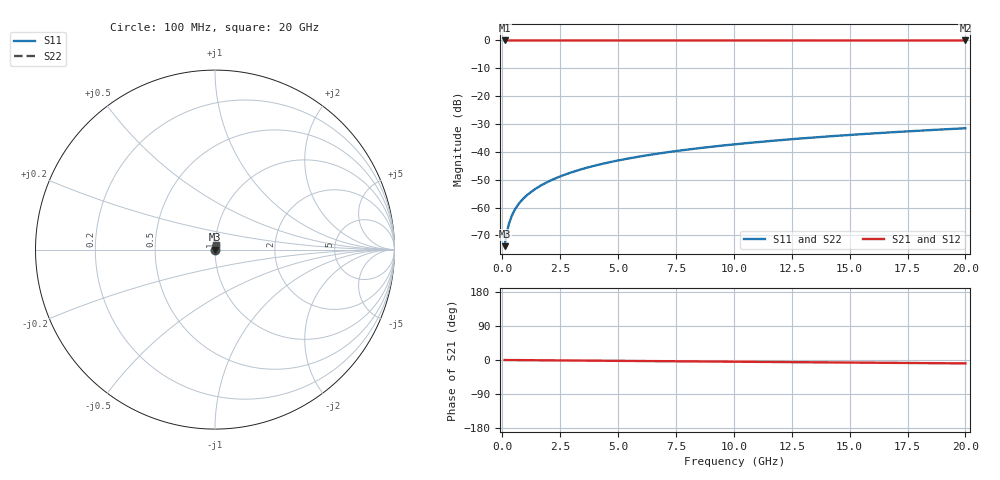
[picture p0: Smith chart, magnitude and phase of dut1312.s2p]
! Touchstone file exported from HFSS 2026.1.0
!  File:  C:/ffzhzh/LocalFiles/Ansys_Project_Files/temp_train_TSV_1312_1783194971_22436.aedt
!  Generated:  03:57:39 AM Jul  5, 2026
!  Design:  TSV
!  Project:  temp_train_TSV_1312_1783194971_22436
! Variables:
!  h_bsmrdl = 2um
!  h_ox = 20um
!  h_rdl = 5um
!  h_sub = 85.35um
!  h_tmrdl = 5um
!  h_tsv = 85.35um
!  h_via = 3um
!  l_bsmrdl = 300um
!  l_sub = 423.62um
!  l_tmrdl = 200um
!  m_sub = 200um
!  pitch = 57.55um
!  r_tsv = 11.81um
!  s_tmrdl = 10um
!  w_bsmrdl = 18um
!  w_sub = 500um
!  w_tmrdl = 12um
!  x_tsv_center1 = 206um
!  x_tsv_center2 = 524um
!  x_tsv_center3 = 736um
!  x_tsv_center4 = 1054um
!  x_tsv_center5 = 1266um
!  x_tsv_center6 = 1584um
# GHz S MA R 50.000000
! Terminal data exported
! Port[1] = TSV1_1_T1
! Port[2] = TSV1_1_T2
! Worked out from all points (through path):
!   200 points, 100 MHz to 20 GHz, reference 50 ohm
!   highest |S21| = 0.00 dB at 100 MHz (marker M1); lowest = 0.0 dB at 20 GHz (marker M2)
!   group delay of S21, straight-line fit = 1.24 ps
!   lowest |S11| = -73.9 dB at 100 MHz (marker M3), VSWR 1.00, Z = 50 + j0.0175 ohm
!   |S11| at or under -10 dB: start of sweep to end of sweep
!   |S22| runs from -73.9 to -31.5 dB; largest |S21 - S12| = 4e-15
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0.1  0.0002027 59.9  0.9999 -0.0  0.9999 -0.0  0.0002027 59.9
! Gamma 0 0 0 0
! Port Impedance 50 0 50 0
0.2  0.000366 71.8  0.9999 -0.1  0.9999 -0.1  0.000366 71.8
0.3  0.0005319 75.5  0.9999 -0.1  0.9999 -0.1  0.0005319 75.5
0.4  0.0006938 77.0  0.9998 -0.2  0.9998 -0.2  0.0006938 77.0
0.5  0.0008506 77.8  0.9998 -0.2  0.9998 -0.2  0.0008506 77.8
0.6  0.001002 78.2  0.9998 -0.3  0.9998 -0.3  0.001002 78.2
0.7  0.00115 78.6  0.9998 -0.3  0.9998 -0.3  0.00115 78.6
0.9  0.001436 79.2  0.9997 -0.4  0.9997 -0.4  0.001436 79.2
1.1  0.001714 79.7  0.9997 -0.5  0.9997 -0.5  0.001714 79.7
1.3  0.001989 80.3  0.9997 -0.6  0.9997 -0.6  0.001989 80.3
1.6  0.002398 80.9  0.9996 -0.7  0.9996 -0.7  0.002398 80.9
1.9  0.002807 81.5  0.9996 -0.9  0.9996 -0.9  0.002807 81.5
2.6  0.003762 82.3  0.9996 -1.2  0.9996 -1.2  0.003762 82.3
3.5  0.004985 82.8  0.9995 -1.6  0.9995 -1.6  0.004985 82.8
4.2  0.005932 83.0  0.9995 -1.9  0.9995 -1.9  0.005932 83.0
5  0.007007 83.0  0.9994 -2.3  0.9994 -2.3  0.007007 83.0
6.8  0.009405 82.8  0.9993 -3.1  0.9993 -3.1  0.009405 82.8
8.3  0.01139 82.5  0.9992 -3.7  0.9992 -3.7  0.01139 82.5
10.1  0.01375 82.0  0.9991 -4.5  0.9991 -4.5  0.01375 82.0
13.4  0.01806 81.0  0.9989 -6.0  0.9989 -6.0  0.01806 81.0
16.7  0.02232 79.8  0.9987 -7.5  0.9987 -7.5  0.02232 79.8
20  0.02654 78.5  0.9985 -8.9  0.9985 -8.9  0.02654 78.5
